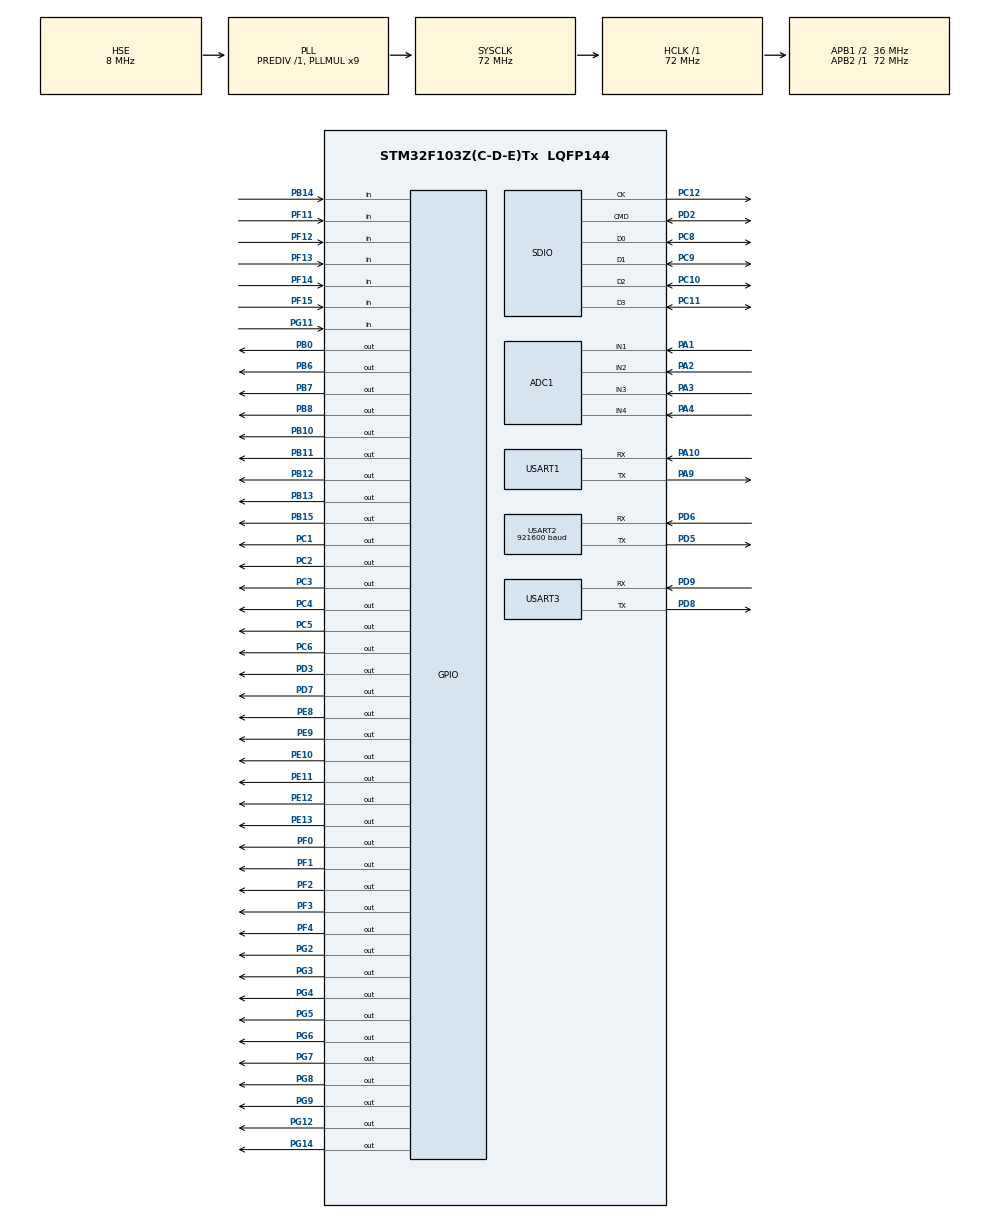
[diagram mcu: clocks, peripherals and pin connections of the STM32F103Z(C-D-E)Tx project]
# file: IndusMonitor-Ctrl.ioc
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ADC1.Channel-0\#ChannelRegularConversion=ADC_CHANNEL_1
ADC1.Channel-1\#ChannelRegularConversion=ADC_CHANNEL_2
ADC1.Channel-2\#ChannelRegularConversion=ADC_CHANNEL_3
ADC1.ContinuousConvMode=ENABLE
ADC1.NbrOfConversion=3
ADC1.NbrOfConversionFlag=1
ADC1.Rank-0\#ChannelRegularConversion=1
ADC1.Rank-1\#ChannelRegularConversion=2
ADC1.Rank-2\#ChannelRegularConversion=3
ADC1.SamplingTime-0\#ChannelRegularConversion=ADC_SAMPLETIME_55CYCLES_5
ADC1.SamplingTime-1\#ChannelRegularConversion=ADC_SAMPLETIME_55CYCLES_5
ADC1.SamplingTime-2\#ChannelRegularConversion=ADC_SAMPLETIME_55CYCLES_5
ADC1.master=1
Dma.ADC1.0.Direction=DMA_PERIPH_TO_MEMORY
Dma.ADC1.0.Instance=DMA1_Channel1
Dma.ADC1.0.MemDataAlignment=DMA_MDATAALIGN_HALFWORD
Dma.ADC1.0.MemInc=DMA_MINC_ENABLE
Dma.ADC1.0.Mode=DMA_CIRCULAR
Dma.ADC1.0.PeriphDataAlignment=DMA_PDATAALIGN_HALFWORD
Dma.ADC1.0.PeriphInc=DMA_PINC_DISABLE
Dma.ADC1.0.Priority=DMA_PRIORITY_LOW
Dma.Request0=ADC1
Dma.Request1=USART1_RX
Dma.Request2=USART1_TX
Dma.USART1_RX.1.Direction=DMA_PERIPH_TO_MEMORY
Dma.USART1_RX.1.Instance=DMA1_Channel5
Dma.USART1_RX.1.MemDataAlignment=DMA_MDATAALIGN_BYTE
Dma.USART1_RX.1.MemInc=DMA_MINC_ENABLE
Dma.USART1_RX.1.Mode=DMA_CIRCULAR
Dma.USART1_RX.1.PeriphDataAlignment=DMA_PDATAALIGN_BYTE
Dma.USART1_RX.1.PeriphInc=DMA_PINC_DISABLE
Dma.USART1_RX.1.Priority=DMA_PRIORITY_LOW
Dma.USART1_TX.2.Direction=DMA_MEMORY_TO_PERIPH
Dma.USART1_TX.2.Instance=DMA1_Channel4
Dma.USART1_TX.2.MemDataAlignment=DMA_MDATAALIGN_BYTE
Dma.USART1_TX.2.MemInc=DMA_MINC_ENABLE
Dma.USART1_TX.2.Mode=DMA_NORMAL
Dma.USART1_TX.2.PeriphDataAlignment=DMA_PDATAALIGN_BYTE
Dma.USART1_TX.2.PeriphInc=DMA_PINC_DISABLE
Dma.USART1_TX.2.Priority=DMA_PRIORITY_LOW
FATFS._FS_REENTRANT=0
FREERTOS.Tasks01=defaultTask,24,128,StartDefaultTask,Default,NULL,Dynamic,NULL,NULL
FREERTOS.configTOTAL_HEAP_SIZE=12000
IWDG.Prescaler=IWDG_PRESCALER_128
IWDG.Reload=3126
Mcu.Family=STM32F1
Mcu.Name=STM32F103Z(C-D-E)Tx
Mcu.Package=LQFP144
NVIC.PriorityGroup=NVIC_PRIORITYGROUP_4
NVIC.TIM1_UP_IRQn=true\:5\:0\:false\:false\:true\:true\:true\:true\:true
NVIC.TIM2_IRQn=true\:5\:0\:false\:false\:true\:true\:true\:true\:true
NVIC.TIM3_IRQn=true\:5\:0\:false\:false\:true\:true\:true\:true\:true
NVIC.TIM4_IRQn=true\:4\:0\:true\:false\:true\:false\:true\:true\:true
NVIC.TIM5_IRQn=true\:5\:0\:false\:false\:true\:true\:true\:true\:true
NVIC.TIM7_IRQn=true\:15\:0\:false\:false\:true\:false\:false\:true\:true
NVIC.TimeBase=TIM7_IRQn
NVIC.TimeBaseIP=TIM7
NVIC.USART1_IRQn=true\:5\:0\:false\:false\:true\:true\:true\:true\:true
NVIC.USART2_IRQn=true\:5\:0\:false\:false\:true\:true\:true\:true\:true
NVIC.USART3_IRQn=true\:5\:0\:false\:false\:true\:true\:true\:true\:true
OSC_IN.Mode=HSE-External-Oscillator
OSC_IN.Signal=RCC_OSC_IN
OSC_OUT.Mode=HSE-External-Oscillator
OSC_OUT.Signal=RCC_OSC_OUT
PA1.Signal=ADCx_IN1
PA10.Mode=Asynchronous
PA10.Signal=USART1_RX
PA13.Mode=JTAG_4_pins
PA13.Signal=SYS_JTMS-SWDIO
PA14.Mode=JTAG_4_pins
PA14.Signal=SYS_JTCK-SWCLK
PA15.Mode=JTAG_4_pins
PA15.Signal=SYS_JTDI
PA2.Signal=ADCx_IN2
PA3.Signal=ADCx_IN3
PA4.Signal=ADCx_IN4
PA9.Mode=Asynchronous
PA9.Signal=USART1_TX
PB0.GPIO_Speed=GPIO_SPEED_FREQ_HIGH
PB0.Signal=GPIO_Output
PB10.PinState=GPIO_PIN_SET
PB10.Signal=GPIO_Output
PB11.PinState=GPIO_PIN_SET
PB11.Signal=GPIO_Output
PB12.GPIO_ModeDefaultOutputPP=GPIO_MODE_OUTPUT_PP
PB12.GPIO_Speed=GPIO_SPEED_FREQ_HIGH
PB12.PinState=GPIO_PIN_SET
PB12.Signal=GPIO_Output
PB13.GPIO_ModeDefaultOutputPP=GPIO_MODE_OUTPUT_PP
PB13.GPIO_PuPd=GPIO_NOPULL
PB13.GPIO_Speed=GPIO_SPEED_FREQ_HIGH
PB13.PinState=GPIO_PIN_SET
PB13.Signal=GPIO_Output
PB14.GPIO_PuPd=GPIO_PULLUP
PB14.Signal=GPIO_Input
PB15.GPIO_Speed=GPIO_SPEED_FREQ_HIGH
PB15.PinState=GPIO_PIN_SET
PB15.Signal=GPIO_Output
PB3.Mode=JTAG_4_pins
PB3.Signal=SYS_JTDO-TRACESWO
PB6.GPIO_ModeDefaultOutputPP=GPIO_MODE_OUTPUT_OD
PB6.GPIO_PuPd=GPIO_NOPULL
PB6.GPIO_Speed=GPIO_SPEED_FREQ_HIGH
PB6.Signal=GPIO_Output
PB7.GPIO_ModeDefaultOutputPP=GPIO_MODE_OUTPUT_OD
PB7.GPIO_PuPd=GPIO_NOPULL
PB7.GPIO_Speed=GPIO_SPEED_FREQ_HIGH
PB7.Signal=GPIO_Output
PB8.GPIO_Speed=GPIO_SPEED_FREQ_HIGH
PB8.Signal=GPIO_Output
PC1.GPIO_Speed=GPIO_SPEED_FREQ_HIGH
PC1.PinState=GPIO_PIN_RESET
PC1.Signal=GPIO_Output
PC10.Mode=SD_4_bits_Wide_bus
PC10.Signal=SDIO_D2
PC11.Mode=SD_4_bits_Wide_bus
PC11.Signal=SDIO_D3
PC12.Mode=SD_4_bits_Wide_bus
PC12.Signal=SDIO_CK
PC14-OSC32_IN.Mode=LSE-External-Oscillator
PC14-OSC32_IN.Signal=RCC_OSC32_IN
PC15-OSC32_OUT.Mode=LSE-External-Oscillator
PC15-OSC32_OUT.Signal=RCC_OSC32_OUT
PC2.GPIO_Speed=GPIO_SPEED_FREQ_HIGH
PC2.PinState=GPIO_PIN_RESET
PC2.Signal=GPIO_Output
PC3.GPIO_Speed=GPIO_SPEED_FREQ_HIGH
PC3.PinState=GPIO_PIN_RESET
PC3.Signal=GPIO_Output
PC4.GPIO_Speed=GPIO_SPEED_FREQ_HIGH
PC4.Signal=GPIO_Output
PC5.GPIO_Speed=GPIO_SPEED_FREQ_HIGH
PC5.Signal=GPIO_Output
PC6.GPIO_Speed=GPIO_SPEED_FREQ_HIGH
PC6.Signal=GPIO_Output
PC8.Mode=SD_4_bits_Wide_bus
PC8.Signal=SDIO_D0
PC9.Mode=SD_4_bits_Wide_bus
PC9.Signal=SDIO_D1
PD2.Mode=SD_4_bits_Wide_bus
PD2.Signal=SDIO_CMD
PD3.GPIO_ModeDefaultOutputPP=GPIO_MODE_OUTPUT_OD
PD3.GPIO_PuPd=GPIO_NOPULL
PD3.GPIO_Speed=GPIO_SPEED_FREQ_HIGH
PD3.Signal=GPIO_Output
PD5.Mode=Asynchronous
PD5.Signal=USART2_TX
PD6.Mode=Asynchronous
PD6.Signal=USART2_RX
PD7.GPIO_ModeDefaultOutputPP=GPIO_MODE_OUTPUT_OD
PD7.GPIO_PuPd=GPIO_NOPULL
PD7.GPIO_Speed=GPIO_SPEED_FREQ_HIGH
PD7.Signal=GPIO_Output
PD8.Mode=Asynchronous
PD8.Signal=USART3_TX
PD9.Mode=Asynchronous
PD9.Signal=USART3_RX
PE10.GPIO_Speed=GPIO_SPEED_FREQ_HIGH
PE10.Signal=GPIO_Output
PE11.GPIO_Speed=GPIO_SPEED_FREQ_HIGH
PE11.Signal=GPIO_Output
PE12.GPIO_Speed=GPIO_SPEED_FREQ_HIGH
PE12.Signal=GPIO_Output
PE13.GPIO_Speed=GPIO_SPEED_FREQ_HIGH
PE13.Signal=GPIO_Output
PE8.GPIO_Speed=GPIO_SPEED_FREQ_HIGH
PE8.PinState=GPIO_PIN_RESET
PE8.Signal=GPIO_Output
PE9.GPIO_Speed=GPIO_SPEED_FREQ_HIGH
PE9.Signal=GPIO_Output
PF0.GPIO_Speed=GPIO_SPEED_FREQ_HIGH
PF0.PinState=GPIO_PIN_SET
PF0.Signal=GPIO_Output
PF1.GPIO_Speed=GPIO_SPEED_FREQ_HIGH
PF1.PinState=GPIO_PIN_SET
PF1.Signal=GPIO_Output
PF11.GPIO_PuPd=GPIO_PULLUP
PF11.Signal=GPIO_Input
PF12.GPIO_PuPd=GPIO_PULLUP
PF12.Signal=GPIO_Input
PF13.GPIO_PuPd=GPIO_PULLUP
PF13.Signal=GPIO_Input
PF14.GPIO_PuPd=GPIO_PULLUP
PF14.Signal=GPIO_Input
PF15.GPIO_PuPd=GPIO_PULLUP
PF15.Signal=GPIO_Input
PF2.GPIO_Speed=GPIO_SPEED_FREQ_HIGH
PF2.PinState=GPIO_PIN_SET
PF2.Signal=GPIO_Output
PF3.GPIO_Speed=GPIO_SPEED_FREQ_HIGH
PF3.PinState=GPIO_PIN_SET
PF3.Signal=GPIO_Output
PF4.GPIO_Speed=GPIO_SPEED_FREQ_HIGH
PF4.PinState=GPIO_PIN_SET
PF4.Signal=GPIO_Output
PG11.GPIO_PuPd=GPIO_PULLUP
PG11.Signal=GPIO_Input
PG12.GPIO_ModeDefaultOutputPP=GPIO_MODE_OUTPUT_PP
PG12.GPIO_Speed=GPIO_SPEED_FREQ_HIGH
PG12.Signal=GPIO_Output
PG14.GPIO_Speed=GPIO_SPEED_FREQ_HIGH
PG14.Signal=GPIO_Output
PG2.GPIO_Speed=GPIO_SPEED_FREQ_HIGH
PG2.Signal=GPIO_Output
PG3.GPIO_Speed=GPIO_SPEED_FREQ_HIGH
PG3.Signal=GPIO_Output
PG4.GPIO_Speed=GPIO_SPEED_FREQ_HIGH
PG4.Signal=GPIO_Output
PG5.GPIO_Speed=GPIO_SPEED_FREQ_HIGH
PG5.Signal=GPIO_Output
PG6.GPIO_Speed=GPIO_SPEED_FREQ_HIGH
PG6.Signal=GPIO_Output
PG7.GPIO_Speed=GPIO_SPEED_FREQ_HIGH
PG7.Signal=GPIO_Output
PG8.GPIO_Speed=GPIO_SPEED_FREQ_HIGH
PG8.Signal=GPIO_Output
PG9.GPIO_ModeDefaultOutputPP=GPIO_MODE_OUTPUT_PP
PG9.GPIO_Speed=GPIO_SPEED_FREQ_HIGH
PG9.PinState=GPIO_PIN_RESET
PG9.Signal=GPIO_Output
ProjectManager.HeapSize=0x200
ProjectManager.StackSize=0x400
ProjectManager.TargetToolchain=MDK-ARM V5
RCC.ADCPresc=RCC_ADCPCLK2_DIV6
RCC.AHBFreq_Value=72000000
RCC.APB1CLKDivider=RCC_HCLK_DIV2
RCC.APB1Freq_Value=36000000
RCC.APB1TimFreq_Value=72000000
RCC.APB2Freq_Value=72000000
RCC.APB2TimFreq_Value=72000000
RCC.HCLKFreq_Value=72000000
RCC.PLLMUL=RCC_PLL_MUL9
RCC.PLLSourceVirtual=RCC_PLLSOURCE_HSE
RCC.SYSCLKFreq_VALUE=72000000
RCC.SYSCLKSource=RCC_SYSCLKSOURCE_PLLCLK
RCC.USBFreq_Value=72000000
RTC.Date=7
RTC.Month=RTC_MONTH_JUNE
RTC.WeekDay=RTC_WEEKDAY_SUNDAY
RTC.Year=26
SH.ADCx_IN1.0=ADC1_IN1,IN1
SH.ADCx_IN2.0=ADC1_IN2,IN2
SH.ADCx_IN3.0=ADC1_IN3,IN3
SH.ADCx_IN4.0=ADC1_IN4,IN4
TIM1.Period=1000-1
TIM1.Prescaler=72-1
TIM2.Period=1000-1
TIM2.Prescaler=72-1
TIM3.Period=1000-1
TIM3.Prescaler=72-1
TIM4.Prescaler=71
TIM5.Period=10000-1
TIM5.Prescaler=72-1
USART1.VirtualMode=VM_ASYNC
USART2.BaudRate=921600
USART2.VirtualMode=VM_ASYNC
USART3.VirtualMode=VM_ASYNC
VP_FATFS_VS_SDIO.Mode=SDIO
VP_FREERTOS_VS_CMSIS_V2.Mode=CMSIS_V2
VP_IWDG_VS_IWDG.Mode=IWDG_Activate
VP_RTC_VS_RTC_Activate.Mode=RTC_Enabled
VP_RTC_VS_RTC_Calendar.Mode=RTC_Calendar
VP_SYS_VS_tim7.Mode=TIM7
VP_TIM1_VS_ClockSourceINT.Mode=Internal
VP_TIM2_VS_ClockSourceINT.Mode=Internal
VP_TIM3_VS_ClockSourceINT.Mode=Internal
VP_TIM4_VS_ClockSourceINT.Mode=Internal
VP_TIM5_VS_ClockSourceINT.Mode=Internal
board=custom

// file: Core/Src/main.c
/* USER CODE BEGIN Header */
/**
  ******************************************************************************
  * @file           : main.c
  * @brief          : Main program body
  ******************************************************************************
  * @attention
  *
  * Copyright (c) 2025 STMicroelectronics.
  * All rights reserved.
  *
  * This software is licensed under terms that can be found in the LICENSE file
  * in the root directory of this software component.
  * If no LICENSE file comes with this software, it is provided AS-IS.
  *
  ******************************************************************************
  */
/* USER CODE END Header */
#include "main.h"
#include "cmsis_os.h"
#include "adc.h"
#include "dma.h"
#include "fatfs.h"
#include "iwdg.h"
#include "rtc.h"
#include "sdio.h"
#include "tim.h"
#include "usart.h"
#include "gpio.h"

/* USER CODE BEGIN Includes */
#include "esp8266.h"
#include "mygui.h"
#include "motor.h"
#include "key.h"
#include "modbus.h"
#include "sd_data.h"
/* USER CODE END Includes */

/* USER CODE BEGIN PTD */
FATFS fs;
FRESULT res;
void Fatfs_Test(void)
{
    // 先初始化SD卡
    if(HAL_SD_Init(&hsd) != HAL_OK)
    {
        printf("SD卡初始化失败\r\n");
        return;
    }

    // 再挂载文件系统
    res = f_mount(&fs, "0:", 1);
    if(res == FR_OK)
    {
        printf("挂载文件系统成功\r\n");
    }
    else
    {
        printf("挂载文件系统失败 :%d\r\n", res);
    }
}
/* USER CODE END PTD */

/* USER CODE BEGIN PM */
void vApplicationIdleHook(void)
{
		//printf("开始喂狗\r\n");
    HAL_IWDG_Refresh(&hiwdg);
}
/* USER CODE END PM */

void SystemClock_Config(void);
void MX_FREERTOS_Init(void);

int main(void)
{
  /* USER CODE BEGIN 1 */
printf("ok0\r\n");
  /* USER CODE END 1 */

  /* MCU Configuration--------------------------------------------------------*/

  /* Reset of all peripherals, Initializes the Flash interface and the Systick. */
  HAL_Init();

  /* Configure the system clock */
  SystemClock_Config();

  /* Initialize all configured peripherals */
  MX_GPIO_Init();
  MX_DMA_Init();
  MX_ADC1_Init();
  MX_TIM1_Init();
  MX_TIM2_Init();
  MX_USART1_UART_Init();
  MX_USART2_UART_Init();
  MX_TIM4_Init();
  MX_TIM3_Init();
  MX_TIM5_Init();
  MX_IWDG_Init();
  MX_RTC_Init();
  MX_SDIO_SD_Init();
  MX_USART3_UART_Init();
  MX_FATFS_Init();
  /* USER CODE BEGIN 2 */
//	HAL_TIM_Base_Start_IT(&htim2);
//	HAL_TIM_Base_Start_IT(&htim5);
	printf("test\r\n");
			RS485_Init();
	printf("tt\r\n");    // RS485 DMA接收
			Modbus_Init();
	printf("tt\r\n");
	esp8266_init();
	//Fatfs_Test();
	//SD_LogSensorData(25.3, 60.2, 320);
	//SD_LogCustom("用户手动开灯");
	//SD_LogSensorData(25.4, 60.3, 310);
	//SD_LogCustom("用户手动关灯");
  /* USER CODE END 2 */

  /* Init scheduler */
  osKernelInitialize();

  /* Call init function for freertos objects (in freertos.c) */
  MX_FREERTOS_Init();

  /* Start scheduler */
  osKernelStart();

  /* We should never get here as control is now taken by the scheduler */
  /* Infinite loop */
  while (1)
  {

  }
}

void SystemClock_Config(void)
{
  RCC_OscInitTypeDef RCC_OscInitStruct = {0};
  RCC_ClkInitTypeDef RCC_ClkInitStruct = {0};
  RCC_PeriphCLKInitTypeDef PeriphClkInit = {0};

  /** Initializes the RCC Oscillators according to the specified parameters
  * in the RCC_OscInitTypeDef structure.
  */
  RCC_OscInitStruct.OscillatorType = RCC_OSCILLATORTYPE_LSI|RCC_OSCILLATORTYPE_HSE;
  RCC_OscInitStruct.HSEState = RCC_HSE_ON;
  RCC_OscInitStruct.HSEPredivValue = RCC_HSE_PREDIV_DIV1;
  RCC_OscInitStruct.HSIState = RCC_HSI_ON;
  RCC_OscInitStruct.LSIState = RCC_LSI_ON;
  RCC_OscInitStruct.PLL.PLLState = RCC_PLL_ON;
  RCC_OscInitStruct.PLL.PLLSource = RCC_PLLSOURCE_HSE;
  RCC_OscInitStruct.PLL.PLLMUL = RCC_PLL_MUL9;
  if (HAL_RCC_OscConfig(&RCC_OscInitStruct) != HAL_OK)
  {
    Error_Handler();
  }

  /** Initializes the CPU, AHB and APB buses clocks
  */
  RCC_ClkInitStruct.ClockType = RCC_CLOCKTYPE_HCLK|RCC_CLOCKTYPE_SYSCLK
                              |RCC_CLOCKTYPE_PCLK1|RCC_CLOCKTYPE_PCLK2;
  RCC_ClkInitStruct.SYSCLKSource = RCC_SYSCLKSOURCE_PLLCLK;
  RCC_ClkInitStruct.AHBCLKDivider = RCC_SYSCLK_DIV1;
  RCC_ClkInitStruct.APB1CLKDivider = RCC_HCLK_DIV2;
  RCC_ClkInitStruct.APB2CLKDivider = RCC_HCLK_DIV1;

  if (HAL_RCC_ClockConfig(&RCC_ClkInitStruct, FLASH_LATENCY_2) != HAL_OK)
  {
    Error_Handler();
  }
  PeriphClkInit.PeriphClockSelection = RCC_PERIPHCLK_RTC|RCC_PERIPHCLK_ADC;
  PeriphClkInit.RTCClockSelection = RCC_RTCCLKSOURCE_LSI;
  PeriphClkInit.AdcClockSelection = RCC_ADCPCLK2_DIV6;
  if (HAL_RCCEx_PeriphCLKConfig(&PeriphClkInit) != HAL_OK)
  {
    Error_Handler();
  }
}

/* USER CODE BEGIN 4 */
extern uint8_t g_delay_us_done ;
extern uint8_t g_delay_ms_done;

/* USER CODE END 4 */

void HAL_TIM_PeriodElapsedCallback(TIM_HandleTypeDef *htim)
{
  if (htim->Instance == TIM7) {
    HAL_IncTick();
  }
  /* USER CODE BEGIN Callback 1 */
  if (htim->Instance == TIM1)
  {

  }

  // 判断是不是TIM4的“更新中断”（计时结束触发）
  if (htim->Instance == TIM4)
  {
    if (g_delay_us_done == 0)
    {
      g_delay_us_done = 1;
    }

    if (g_delay_ms_done == 0)
    {
      g_delay_ms_done = 1;
    }
    // 设置延迟结束标志
    HAL_TIM_Base_Stop_IT(&htim4); // 停止定时器（带中断的停止）
  }
	if (htim->Instance == TIM2)
	{
		lv_tick_inc(1);
	}

	if (htim->Instance == TIM5)
	{
		Key_ScanAll();
	}

  /* USER CODE END Callback 1 */
}

void Error_Handler(void)
{
  __disable_irq();
  while (1)
  {
  }
}

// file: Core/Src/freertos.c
/**
 ******************************************************************************
 * @file    freertos.c
 * @brief   FreeRTOS 多任务应用
 *
 *  任务架构:
 *   优先级6  Task_Start         启动任务(创建其余任务后自删除)
 *   优先级5  Device_Contral     设备控制(队列驱动)
 *   优先级4  smoking_test       烟雾传感器采集
 *   优先级3  Sensor_Contral     温湿度传感器采集
 *   优先级2  Widows_Contral     窗户控制(队列驱动)
 *   优先级2  cooper_task        温湿度协同自动控制
 *   优先级2  updata_task        LVGL显示数据刷新
 *   优先级2  lv_timer           LVGL定时器处理
 *   优先级2  Task_Report        ESP8266数据上报(30秒)
 *   优先级2  Task_Reconnect     WiFi断线重连(低优先级不阻塞)
 *   优先级1  emergency_task     烟雾报警应急响应(事件组驱动)
 *   优先级1  Task_Cmd           ESP8266指令解析分发
 ******************************************************************************
 */

#include "FreeRTOS.h"
#include "task.h"
#include "main.h"
#include "cmsis_os.h"
#include "queue.h"
#include "usart.h"
#include "stdio.h"
#include "stdlib.h"
#include "semphr.h"
#include "event_groups.h"

#include "sensor.h"
#include "esp8266.h"
#include "device.h"
#include "alarm.h"
#include "Public_Data.h"
#include "personal_Data.h"
#include "mygui.h"
#include "motor.h"
#include "gpio.h"
#include "iwdg.h"
#include "sd_data.h"

/* ============================================================
 *  任务配置
 * ============================================================ */

/* 启动任务 */
#define TASK_START_PRIO        6
#define TASK_START_STACK       128
TaskHandle_t Task_Start_handle;

/* ESP8266指令解析 */
#define TASK_CMD_PRIO          1
#define TASK_CMD_STACK         128
TaskHandle_t Task_Cmd_handle;

/* 烟雾应急响应 */
#define EMERGENCY_PRIO         1
#define EMERGENCY_STACK        128
TaskHandle_t emergency_task_handle;

/* 设备控制 */
#define DEVICE_CTRL_PRIO       5
#define DEVICE_CTRL_STACK      128
TaskHandle_t Device_Contral_handle;

/* 窗户控制 */
#define WINDOW_CTRL_PRIO       2
#define WINDOW_CTRL_STACK      128
TaskHandle_t Widows_Contral_handle;

/* 温湿度采集 */
#define SENSOR_PRIO            3
#define SENSOR_STACK           128
TaskHandle_t Sensor_Contral_handle;

/* 烟雾采集 */
#define SMOKE_PRIO             4
#define SMOKE_STACK            128
TaskHandle_t smoking_test_handle;

/* 温湿度协同控制 */
#define COOPER_PRIO            2
#define COOPER_STACK           128
TaskHandle_t cooper_task_handle;

/* LVGL显示刷新 */
#define UPDATA_PRIO            2
#define UPDATA_STACK           256
TaskHandle_t updata_task_handle;

/* LVGL定时器 */
#define LV_TIMER_PRIO          2
#define LV_TIMER_STACK         512
TaskHandle_t lv_timer_handle;

/* 数据上报 */
#define REPORT_PRIO            2
#define REPORT_STACK           128
TaskHandle_t Task_Report_handle;

/* WiFi断线重连 */
#define RECONNECT_PRIO         2
#define RECONNECT_STACK        1024
TaskHandle_t Task_Reconnect_handle;

/* ============================================================
 *  队列 / 事件组 / 互斥锁
 * ============================================================ */
QueueHandle_t UART_queue_handle;
QueueHandle_t Cmd_queue_handle;
QueueHandle_t device_queue_handle;
QueueHandle_t widows_queue_handle;

EventGroupHandle_t emergency_event_handle;

#define SMOKE_HIGHER_BIT   (1 << 0)
#define SMOKE_HIGHEST_BIT  (1 << 1)
#define SMOKE_NORMAL_BIT   (1 << 2)

SemaphoreHandle_t device_param_mutex;
SemaphoreHandle_t sensor_data_mutex;
SemaphoreHandle_t smoke_data_mutex;
SemaphoreHandle_t lvgl_mutex;
SemaphoreHandle_t modbus_mutex;

typedef enum {
    DEVICE_CONTROL_ID = 1,
    PERSONAL_DATA_ID  = 2,
    WIDOWS_CONTROL_ID = 3,
} ControlID;

/* ============================================================
 *  看门狗喂狗间隔 (单位ms)
 *  配合看门狗超时5秒，每2秒喂一次留有余量
 * ============================================================ */
#define IWDG_FEED_INTERVAL_MS   8000

/* ============================================================
 *  上报失败连续计数 (用于触发重连)
 * ============================================================ */
#define REPORT_FAIL_THRESHOLD   5

/* ============================================================
 *  任务函数前向声明
 * ============================================================ */
static void Task_Start     (void *pvParameters);
static void emergency_task (void *pvParameters);
static void Task_Cmd       (void *pvParameters);
static void Device_Contral (void *pvParameters);
static void Widows_Contral (void *pvParameters);
static void Sensor_Contral (void *pvParameters);
static void smoking_test   (void *pvParameters);
static void cooper_task    (void *pvParameters);
static void updata_task    (void *pvParameters);
static void lv_timer_task  (void *pvParameters);
static void Task_Report    (void *pvParameters);
static void Task_Reconnect (void *pvParameters);

/* ============================================================
 *  FreeRTOS 初始化
 * ============================================================ */
void MX_FREERTOS_Init(void)
{
    UART_queue_handle    = xQueueCreate(5, 100);
    Cmd_queue_handle     = xQueueCreate(5, sizeof(uint32_t));
    device_queue_handle  = xQueueCreate(5, sizeof(uint16_t));
    widows_queue_handle  = xQueueCreate(5, sizeof(uint16_t));

    emergency_event_handle = xEventGroupCreate();

    device_param_mutex = xSemaphoreCreateMutex();
    sensor_data_mutex  = xSemaphoreCreateMutex();
    smoke_data_mutex   = xSemaphoreCreateMutex();
    lvgl_mutex         = xSemaphoreCreateMutex();
    modbus_mutex       = xSemaphoreCreateMutex();

    xTaskCreate(Task_Start, "Task_Start", TASK_START_STACK,
                NULL, TASK_START_PRIO, &Task_Start_handle);
}

/* ============================================================
 *  启动任务: 创建所有应用任务后自删除
 * ============================================================ */

static void Task_Start(void *pvParameters)
{
    printf("[START] 创建所有任务...\r\n");
		BaseType_t xReturn = pdPASS;
		// 1. 紧急任务
		xReturn = xTaskCreate(emergency_task,  "emergency", EMERGENCY_STACK,  NULL, EMERGENCY_PRIO,  &emergency_task_handle);
		if(xReturn == pdPASS) printf("emergency task create success\r\n");
		else printf("emergency task create failed\r\n");

		// 2. 命令任务
		xReturn = xTaskCreate(Task_Cmd,        "Cmd",       TASK_CMD_STACK,   NULL, TASK_CMD_PRIO,   &Task_Cmd_handle);
		if(xReturn == pdPASS) printf("Cmd task create success\r\n");
		else printf("Cmd task create failed\r\n");

		// 3. 设备控制任务
		xReturn = xTaskCreate(Device_Contral,  "DevCtrl",   DEVICE_CTRL_STACK, NULL, DEVICE_CTRL_PRIO, &Device_Contral_handle);
		if(xReturn == pdPASS) printf("DevCtrl task create success\r\n");
		else printf("DevCtrl task create failed\r\n");

		// 4. 窗口控制任务
		xReturn = xTaskCreate(Widows_Contral,  "WinCtrl",   WINDOW_CTRL_STACK, NULL, WINDOW_CTRL_PRIO, &Widows_Contral_handle);
		if(xReturn == pdPASS) printf("WinCtrl task create success\r\n");
		else printf("WinCtrl task create failed\r\n");

		// 5. 传感器控制任务
		xReturn = xTaskCreate(Sensor_Contral,  "Sensor",    SENSOR_STACK,     NULL, SENSOR_PRIO,     &Sensor_Contral_handle);
		if(xReturn == pdPASS) printf("Sensor task create success\r\n");
		else printf("Sensor task create failed\r\n");

		// 6. 烟雾检测任务
		xReturn = xTaskCreate(smoking_test,    "Smoke",     SMOKE_STACK,      NULL, SMOKE_PRIO,      &smoking_test_handle);
		if(xReturn == pdPASS) printf("Smoke task create success\r\n");
		else printf("Smoke task create failed\r\n");

		// 7. 协同任务
		xReturn = xTaskCreate(cooper_task,     "Cooper",    COOPER_STACK,     NULL, COOPER_PRIO,     &cooper_task_handle);
		if(xReturn == pdPASS) printf("Cooper task create success\r\n");
		else printf("Cooper task create failed\r\n");

		// 8. 更新任务
		xReturn = xTaskCreate(updata_task,     "Updata",    UPDATA_STACK,     NULL, UPDATA_PRIO,     &updata_task_handle);
		if(xReturn == pdPASS) printf("Updata task create success\r\n");
		else printf("Updata task create failed\r\n");

		// 9. LVGL定时器任务
		xReturn = xTaskCreate(lv_timer_task,   "LvTimer",   LV_TIMER_STACK,   NULL, LV_TIMER_PRIO,  &lv_timer_handle);
		if(xReturn == pdPASS) printf("LvTimer task create success\r\n");
		else printf("LvTimer task create failed\r\n");

		// 10. 上报任务
		xReturn = xTaskCreate(Task_Report,     "Report",    REPORT_STACK,     NULL, REPORT_PRIO,     &Task_Report_handle);
		if(xReturn == pdPASS) printf("Report task create success\r\n");
		else printf("Report task create failed\r\n");

		// 11. 重连任务
		xReturn = xTaskCreate(Task_Reconnect,  "Reconn",    RECONNECT_STACK,  NULL, RECONNECT_PRIO,  &Task_Reconnect_handle);
		if(xReturn == pdPASS) printf("Reconn task create success\r\n");
		else printf("Reconn task create failed\r\n");

    printf("[START] 所有任务已创建\r\n");
    vTaskDelete(NULL);
}

/* ============================================================
 *  烟雾应急响应任务
 *  触发源: smoking_test 通过事件组触发
 * ============================================================ */
static void emergency_task(void *pvParameters)
{
    printf("[EMERGENCY] 启动\r\n");

    for (;;)
    {
        EventBits_t bits = xEventGroupWaitBits(
            emergency_event_handle,
            SMOKE_HIGHER_BIT | SMOKE_HIGHEST_BIT | SMOKE_NORMAL_BIT,
            pdTRUE, pdFALSE, portMAX_DELAY);

        if (bits & SMOKE_NORMAL_BIT)
        {
            printf("[EMERGENCY] 烟雾恢复正常\r\n");
            alarm_buzzer_off();
        }

        if (bits & SMOKE_HIGHEST_BIT)
        {
            printf("[EMERGENCY] 严重超标 开窗加报警\r\n");
            widows_control(301);
            alarm_buzzer_on();
        }

        if (bits & SMOKE_HIGHER_BIT)
        {
            printf("[EMERGENCY] 轻度超标\r\n");
        }
    }
}

/* ============================================================
 *  ESP8266 指令解析任务
 *  从云端接收指令按类型ID分发到对应队列
 * ============================================================ */
static void Task_Cmd(void *pvParameters)
{
    printf("[CMD] 启动\r\n");
    uint16_t raw_data;
    uint16_t ctrl_id;

    for (;;)
    {
        raw_data = esp8266_receive_msg();

        if (raw_data != 0)
        {
            printf("[CMD] 收到: %d\r\n", raw_data);
            ctrl_id = raw_data / 10000;

            switch (ctrl_id)
            {
                case DEVICE_CONTROL_ID:
                    xQueueSend(device_queue_handle, &raw_data, pdMS_TO_TICKS(10));
                    break;
                case WIDOWS_CONTROL_ID:
                    xQueueSend(widows_queue_handle, &raw_data, pdMS_TO_TICKS(10));
                    break;
                default:
                    break;
            }
        }

        vTaskDelay(pdMS_TO_TICKS(50));
    }
}

/* ============================================================
 *  设备控制任务
 *  从队列接收指令, 加锁后执行Modbus写操作
 * ============================================================ */
static void Device_Contral(void *pvParameters)
{
    printf("[DEVICE] 启动\r\n");
    uint16_t cmd;

    for (;;)
    {
        if (xQueueReceive(device_queue_handle, &cmd, portMAX_DELAY) == pdPASS)
        {
            printf("[DEVICE] 执行: %d\r\n", cmd);

            if (xSemaphoreTake(modbus_mutex, pdMS_TO_TICKS(500)) == pdTRUE)
            {
                uint16_t result = device_control(cmd);
                xSemaphoreGive(modbus_mutex);
                printf("[DEVICE] 结果: %d\r\n", result);
            }
            else
            {
                printf("[DEVICE] 锁超时\r\n");
            }
        }
    }
}

/* ============================================================
 *  窗户控制任务
 * ============================================================ */
static void Widows_Contral(void *pvParameters)
{
    printf("[WINDOW] 启动\r\n");
    uint16_t cmd;

    for (;;)
    {
        if (xQueueReceive(widows_queue_handle, &cmd, portMAX_DELAY) == pdPASS)
        {
            printf("[WINDOW] 执行: %d\r\n", cmd);
            widows_control(cmd);
        }
    }
}

/* ============================================================
 *  温湿度采集任务
 *  周期15秒, 加锁后通过Modbus读取传感器
 * ============================================================ */
static void Sensor_Contral(void *pvParameters)
{
    printf("[SENSOR] 启动\r\n");

    for (;;)
    {
        float temp, humd;

        if (xSemaphoreTake(modbus_mutex, pdMS_TO_TICKS(1000)) == pdTRUE)
        {
            if (Read_TempHum(&temp, &humd))
            {
                printf("[SENSOR] T=%.1f H=%.1f\r\n", temp, humd);
                EnvData_Set(temp, humd);
            }
            else
            {
                printf("[SENSOR] 读取失败\r\n");
            }

            xSemaphoreGive(modbus_mutex);
        }
        else
        {
            printf("[SENSOR] 锁超时\r\n");
        }

        vTaskDelay(pdMS_TO_TICKS(15000));
    }
}

/* ============================================================
 *  烟雾采集任务
 *  三级状态机: NORMAL, WARN, ALARM
 * ============================================================ */
void smoking_test(void *pvParameters)
{
    printf("[SMOKE] 启动\r\n");
    SmokeStateTypeDef state = SMOKE_STATE_NORMAL;

    for (;;)
    {
        uint16_t ppm;

        if (xSemaphoreTake(modbus_mutex, pdMS_TO_TICKS(1000)) == pdTRUE)
        {
            if (Read_Smoke(&ppm))
            {
                printf("[SMOKE] ppm=%d\r\n", ppm);
                SmokeData_SetValue(ppm);
            }
            else
            {
                printf("[SMOKE] 读取失败\r\n");
                xSemaphoreGive(modbus_mutex);
                vTaskDelay(pdMS_TO_TICKS(5000));
                continue;
            }

            xSemaphoreGive(modbus_mutex);
        }
        else
        {
            printf("[SMOKE] 锁超时\r\n");
            vTaskDelay(pdMS_TO_TICKS(5000));
            continue;
        }

        /* 阈值判断, 不涉及Modbus */
        DeviceStatus config = DeviceData_Read();
        uint16_t warn_threshold  = config.SMOKE_ALARM_VALUE;
        uint16_t alarm_threshold = config.SMOKE_ALARM_VALUE + 500;

        if (ppm < warn_threshold)
            state = SMOKE_STATE_NORMAL;
        else if (ppm <= alarm_threshold)
            state = SMOKE_STATE_WARN;
        else
            state = SMOKE_STATE_ALARM;

        SmokeData_SetState(state);

        switch (state)
        {
            case SMOKE_STATE_NORMAL:
                vTaskDelay(pdMS_TO_TICKS(10000));
                break;
            case SMOKE_STATE_WARN:
                printf("[SMOKE] 警告\r\n");
                xEventGroupSetBits(emergency_event_handle, SMOKE_HIGHER_BIT);
                vTaskDelay(pdMS_TO_TICKS(6000));
                break;
            case SMOKE_STATE_ALARM:
                printf("[SMOKE] 报警\r\n");
                xEventGroupSetBits(emergency_event_handle, SMOKE_HIGHEST_BIT);
                vTaskDelay(pdMS_TO_TICKS(2000));
                break;
            default:
                state = SMOKE_STATE_NORMAL;
                vTaskDelay(pdMS_TO_TICKS(1000));
                break;
        }
    }
}

/* ============================================================
 *  温湿度协同自动控制任务
 *  根据温度和湿度自动控制空调和加湿器
 * ============================================================ */
static void cooper_task(void *pvParameters)
{

		printf("[COOPER] 启动\r\n");
    float current_temp = 0.0f;
    float current_humd = 0.0f;
    DeviceStatus config;
		DeviceData_Init();
		printf("初始化完成\r\n");
    uint8_t ac_on   = 0;
    uint8_t humi_on = 0;

    for (;;)
    {

        EnvData_Get(&current_temp, &current_humd);
        config = DeviceData_Read();

        if (config.AC_AUTO_MODE && config.HUMI_AUTO_MODE)
        {
            uint16_t temp = (uint16_t)current_temp;
            uint16_t humd = (uint16_t)current_humd;

            if (temp >= config.AC_ON_VALUE || humd >= config.HUMIDIFIER_OFF_VALUE)
            {
                if (!ac_on)   { printf("[COOPER] 开空调\r\n");     ac_on = 1; }
                if (humi_on)  { printf("[COOPER] 关加湿器\r\n");   humi_on = 0; }
            }
            else if (temp <= config.AC_OFF_VALUE && humd <= config.HUMIDIFIER_ON_VALUE)
            {
                if (!ac_on)   { printf("[COOPER] 开空调制热\r\n"); ac_on = 1; }
                if (!humi_on) { printf("[COOPER] 开加湿器\r\n");   humi_on = 1; }
            }
            else
            {
                if (ac_on)    { printf("[COOPER] 关空调\r\n");     ac_on = 0; }
                if (humi_on)  { printf("[COOPER] 关加湿器\r\n");   humi_on = 0; }
            }
        }

        vTaskDelay(pdMS_TO_TICKS(500));
    }
}

/* ============================================================
 *  LVGL 显示数据刷新任务
 * ============================================================ */
static void updata_task(void *pvParameters)
{
    printf("[LVGL] 刷新任务启动\r\n");

    for (;;)
    {
        xSemaphoreTake(lvgl_mutex, portMAX_DELAY);
        text_updata();
        xSemaphoreGive(lvgl_mutex);

        vTaskDelay(pdMS_TO_TICKS(2000));
    }
}

/* ============================================================
 *  LVGL 定时器任务
 * ============================================================ */
static void lv_timer_task(void *pvParameters)
{
    printf("[LVGL] 定时器任务启动\r\n");

    for (;;)
    {
        xSemaphoreTake(lvgl_mutex, portMAX_DELAY);
        lv_timer_handler();
        xSemaphoreGive(lvgl_mutex);

        vTaskDelay(pdMS_TO_TICKS(10));
    }
}

/* ============================================================
 *  数据上报任务
 *
 *  周期30秒, 从全局数据接口安全读取后分条上报云端
 *  上报失败则写入SD卡保存
 *  连续失败超过阈值则置重连标志
 * ============================================================ */
static void Task_Report(void *pvParameters)
{
    printf("[REPORT] 启动\r\n");
    vTaskDelay(pdMS_TO_TICKS(5000));

    for (;;)
    {
        printf("[REPORT] 开始上报\r\n");

        float temp = 0.0f, humd = 0.0f;
        uint16_t smoke_val = 0;

        EnvData_Get(&temp, &humd);
        SmokeData_GetValue(&smoke_val);

        uint8_t fail_count = 0;

        /* 三条背靠背发, 中间不需要额外延时 */
        if (esp8266_send_msg("temp", (uint16_t)(temp * 10)) != 0){
					  printf("1\r\n");
					vTaskDelay(pdMS_TO_TICKS(200));
            fail_count++;}

        if (esp8266_send_msg("tum", (uint16_t)(humd * 10)) != 0){
					  printf("2\r\n");
					vTaskDelay(pdMS_TO_TICKS(200));
            fail_count++;}

        if (esp8266_send_msg("smoke", smoke_val) != 0){
					  printf("3\r\n");
					vTaskDelay(pdMS_TO_TICKS(200));
            fail_count++;}

        if (fail_count > 0)
        {
            printf("[REPORT] %d条失败 存SD卡\r\n", fail_count);
            SD_LogSensorData(temp, humd, smoke_val);
					  fail_count = 0;
        }
        else
        {
            printf("[REPORT] 全部成功\r\n");
        }

        vTaskDelay(pdMS_TO_TICKS(30000));
    }
}

/* ============================================================
 *  WiFi断线重连任务
 *
 *  优先级1, 平时阻塞等待, 不影响其他任务运行
 *  由 esp_need_reconnect 标志触发
 *  重连期间每2秒喂一次看门狗, 防止复位
 * ============================================================ */
static void Task_Reconnect(void *pvParameters)
{
    printf("[RECONNECT] 启动\r\n");

    for (;;)
    {
        /* 没有重连请求就一直等待, 周期性喂狗 */
        while (esp_need_reconnect == 0)
        {
					printf("[RECONNECT] 喂狗\r\n");
            vTaskDelay(pdMS_TO_TICKS(IWDG_FEED_INTERVAL_MS));
            HAL_IWDG_Refresh(&hiwdg);
        }

        esp_need_reconnect = 0;
        printf("[RECONNECT] 开始重连ESP8266\r\n");

        /* 重连前喂一次 */
        HAL_IWDG_Refresh(&hiwdg);

        /* 执行初始化重连, 内部有较长延时 */
        uint8_t ret = esp8266_init();

        /* 重连后喂一次 */
        HAL_IWDG_Refresh(&hiwdg);

        if (ret == 0)
        {
            printf("[RECONNECT] 重连成功\r\n");
					  esp_need_reconnect = 0;
        }
        else
        {
            printf("[RECONNECT] 重连失败 10秒后重试\r\n");
            esp_need_reconnect = 1;
        }
    }
}
